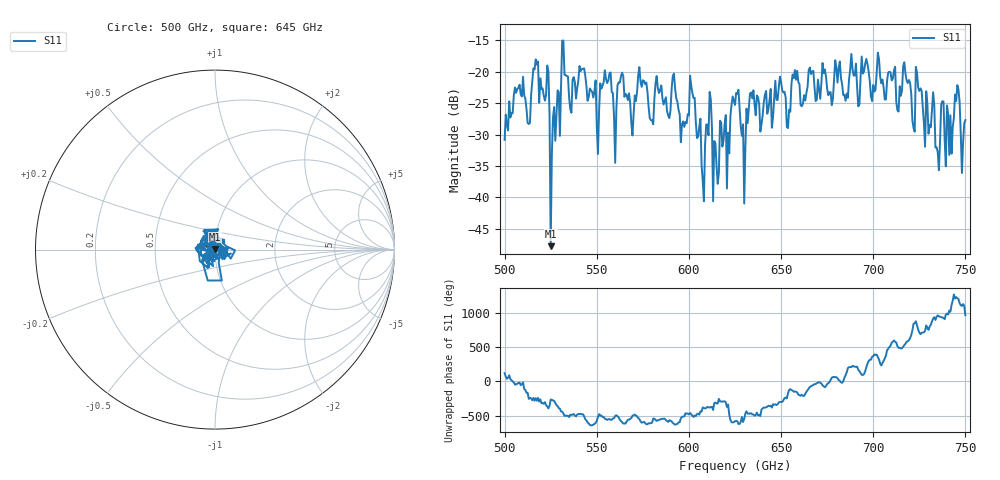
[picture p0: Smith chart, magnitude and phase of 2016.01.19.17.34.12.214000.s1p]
!Created with skrf (http://scikit-rf.org).
# GHz S RI R 50.0
!freq ReS11 ImS11
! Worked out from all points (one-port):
!   401 points, 500 GHz to 750 GHz, reference 50 ohm
!   lowest |S11| = -47.7 dB at 525 GHz (marker M1), VSWR 1.01, Z = 49.9 + j0.406 ohm
!   |S11| at or under -10 dB: start of sweep to end of sweep
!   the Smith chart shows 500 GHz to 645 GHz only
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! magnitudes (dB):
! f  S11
! 500 GHz  -30.8
! 506.9 GHz  -22.7
! 513.1 GHz  -28.3
! 516.9 GHz  -18.0
! 523.1 GHz  -19.0
! 525 GHz  -47.7
! 531.2 GHz  -15.1
! 550 GHz  -28.5
! 556.2 GHz  -21.4
! 559.4 GHz  -27.2
! 562.5 GHz  -21.8
! 568.8 GHz  -28.2
! 593.8 GHz  -24.8
! 596.9 GHz  -27.9
! 601.9 GHz  -23.4
! 608.1 GHz  -40.6
! 611.2 GHz  -23.2
! 614.4 GHz  -31.4
! 625 GHz  -25.3
! 629.4 GHz  -28.4
! 633.8 GHz  -23.3
! 653.8 GHz  -29.0
! 656.2 GHz  -20.5
! 687.5 GHz  -19.6
! 718.8 GHz  -21.8
! 735 GHz  -32.8
! 745.6 GHz  -22.1
! 750 GHz  -27.7
